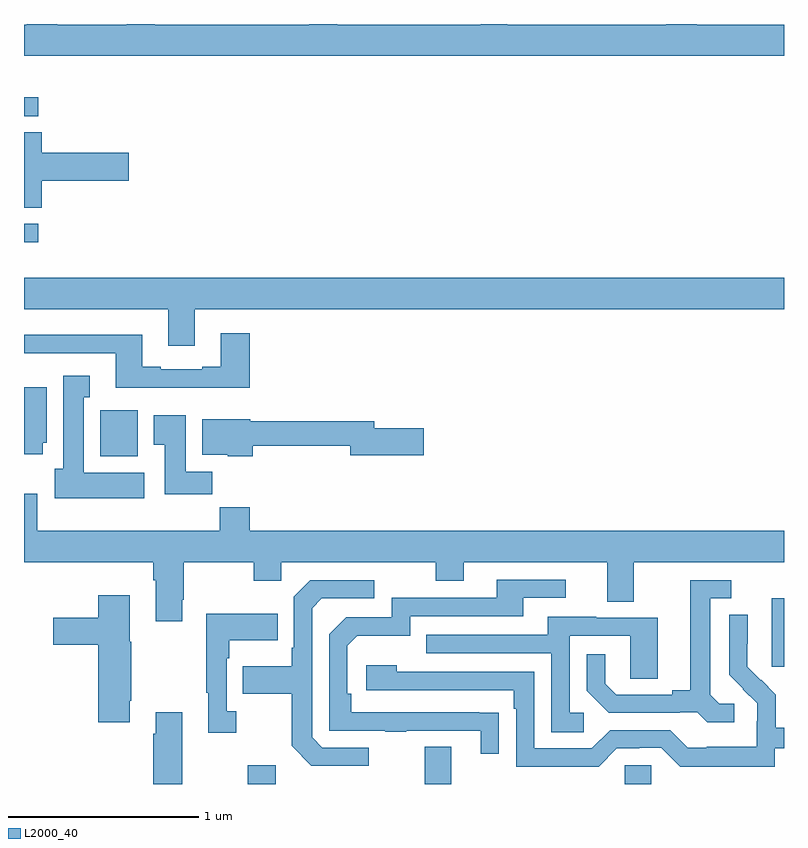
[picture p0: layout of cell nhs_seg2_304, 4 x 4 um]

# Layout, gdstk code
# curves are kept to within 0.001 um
import gdstk
lib = gdstk.Library(unit=1e-6, precision=1e-09)
def R(c, l, rs):  # rectangles x0, y0, x1, y1
    for r in rs: c.add(gdstk.rectangle(r[:2], r[2:], *l))
def P(c, l, *ps):  # polygons
    for p in ps: c.add(gdstk.Polygon(p, *l))
L2000_40 = (2000, 40)

nhs_seg2_304 = lib.new_cell('nhs_seg2_304')
R(nhs_seg2_304, L2000_40, [(126.178,647.8,126.325,647.899), (127.109,647.8,127.249,647.995), (128.163,647.8,128.301,647.898), (128.936,648.417,129,648.778), (125.402,649.526,125.599,649.768), (125,650.652,125.074,650.748), (125,651.315,125.074,651.414)])
P(nhs_seg2_304, L2000_40, [(129,651.796),(128.54,651.796),(128.54,651.8),(128.38,651.8),(128.38,651.796),(127.543,651.796),(127.543,651.8),(127.403,651.8),(127.403,651.796),(126.649,651.796),(126.649,651.8),(126.502,651.8),(126.502,651.796),(125.688,651.796),(125.688,651.8),(125.542,651.8),(125.542,651.796),(125.175,651.796),(125.175,651.8),(125.015,651.8),(125.015,651.796),(125,651.796),(125,651.632),(129,651.632)],
  [(125.093,650.975),(125.551,650.975),(125.551,651.122),(125.093,651.122),(125.093,651.23),(125,651.23),(125,650.833),(125.093,650.833)],
  [(125.899,650.3),(129,650.3),(129,650.464),(125,650.464),(125,650.3),(125.759,650.3),(125.759,650.106),(125.899,650.106)],
  [(126.188,650.173),(126.035,650.173),(126.035,649.996),(125.939,649.996),(125.939,649.983),(125.719,649.983),(125.719,649.996),(125.623,649.996),(125.623,650.164),(125,650.164),(125,650.067),(125.483,650.067),(125.483,649.886),(126.188,649.886)],
  [(125.632,649.438),(125.314,649.438),(125.314,649.835),(125.347,649.835),(125.347,649.948),(125.207,649.948),(125.207,649.458),(125.162,649.458),(125.162,649.304),(125.632,649.304)],
  [(125.098,649.596),(125.119,649.596),(125.119,649.888),(125,649.888),(125,649.536),(125.098,649.536)],
  [(125.99,649.444),(125.851,649.444),(125.851,649.741),(125.684,649.741),(125.684,649.585),(125.741,649.585),(125.741,649.326),(125.99,649.326)],
  [(126.203,649.581),(126.716,649.581),(126.716,649.531),(127.105,649.531),(127.105,649.673),(126.844,649.673),(126.844,649.709),(126.19,649.709),(126.19,649.72),(125.939,649.72),(125.939,649.532),(126.072,649.532),(126.072,649.526),(126.203,649.526)],
  [(125.833,648.769),(125.841,648.769),(125.841,648.968),(126.208,648.968),(126.208,648.869),(126.354,648.869),(126.354,648.968),(127.168,648.968),(127.168,648.869),(127.315,648.869),(127.315,648.968),(128.069,648.968),(128.069,648.76),(128.209,648.76),(128.209,648.968),(129,648.968),(129,649.132),(126.188,649.132),(126.188,649.256),(126.031,649.256),(126.031,649.132),(125.071,649.132),(125.071,649.327),(125,649.327),(125,648.968),(125.681,648.968),(125.681,648.872),(125.693,648.872),(125.693,648.657),(125.833,648.657)],
  [(127.499,648.176),(126.722,648.177),(126.722,648.274),(126.702,648.274),(126.702,648.528),(126.755,648.581),(127.032,648.581),(127.032,648.684),(127.627,648.684),(127.627,648.78),(127.852,648.78),(127.852,648.876),(127.487,648.876),(127.487,648.78),(126.936,648.78),(126.936,648.678),(126.696,648.678),(126.606,648.588),(126.606,648.081),(126.901,648.081),(126.901,648.076),(127.013,648.076),(127.013,648.081),(127.403,648.081),(127.403,647.958),(127.499,647.958)],
  [(128.739,648.222),(128.658,648.222),(128.611,648.269),(128.611,648.777),(128.722,648.777),(128.722,648.873),(128.507,648.873),(128.507,648.293),(128.411,648.293),(128.411,648.27),(128.116,648.27),(128.059,648.327),(128.059,648.484),(127.962,648.484),(127.962,648.29),(128.078,648.174),(128.45,648.174),(128.45,648.177),(128.544,648.177),(128.596,648.125),(128.739,648.125)],
  [(126.814,647.991),(126.57,647.991),(126.516,648.045),(126.516,648.726),(126.567,648.777),(126.844,648.777),(126.844,648.873),(126.507,648.873),(126.42,648.786),(126.42,648.517),(126.408,648.517),(126.408,648.421),(126.151,648.421),(126.151,648.274),(126.408,648.274),(126.408,648.001),(126.513,647.895),(126.814,647.895)],
  [(125.557,648.238),(125.565,648.238),(125.565,648.549),(125.557,648.549),(125.557,648.793),(125.39,648.793),(125.39,648.675),(125.154,648.675),(125.154,648.533),(125.39,648.533),(125.39,648.126),(125.557,648.126)],
  [(126.118,648.182),(126.066,648.182),(126.066,648.461),(126.079,648.461),(126.079,648.557),(126.335,648.557),(126.335,648.697),(125.958,648.697),(125.958,648.281),(125.969,648.281),(125.969,648.069),(126.118,648.069)],
  [(128.952,647.988),(129,647.988),(129,648.097),(128.957,648.097),(128.957,648.271),(128.88,648.348),(128.877,648.345),(128.807,648.416),(128.808,648.692),(128.712,648.692),(128.712,648.374),(128.858,648.226),(128.858,648.129),(128.856,648.129),(128.856,647.995),(128.593,647.995),(128.593,647.991),(128.493,647.991),(128.4,648.084),(128.085,648.084),(127.989,647.988),(127.686,647.988),(127.686,648.39),(126.962,648.39),(126.962,648.424),(126.801,648.424),(126.801,648.294),(127.577,648.294),(127.577,648.197),(127.59,648.197),(127.59,647.892),(128.025,647.892),(128.121,647.988),(128.239,647.988),(128.239,647.991),(128.355,647.991),(128.455,647.891),(128.952,647.891)],
  [(127.945,648.174),(127.872,648.174),(127.872,648.579),(128.19,648.579),(128.19,648.355),(128.335,648.355),(128.335,648.675),(128.011,648.675),(128.011,648.679),(127.757,648.679),(127.757,648.585),(127.117,648.585),(127.117,648.489),(127.776,648.489),(127.776,648.073),(127.945,648.073)],
  [(125.693,648.178),(125.693,648.065),(125.681,648.065),(125.681,647.8),(125.833,647.8),(125.833,648.178)])

lib.write_gds('nhs_seg2_304.gds')
